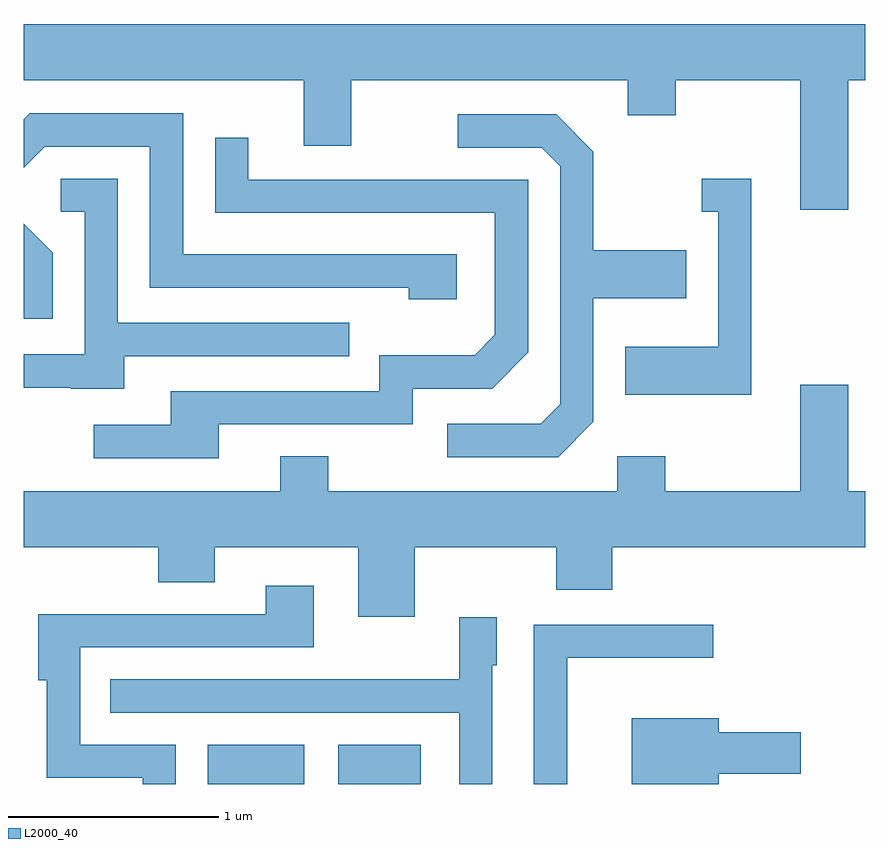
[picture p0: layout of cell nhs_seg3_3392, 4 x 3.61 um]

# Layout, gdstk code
import gdstk
lib = gdstk.Library(unit=1e-6, precision=1e-09)
def R(c, l, rs):  # rectangles x0, y0, x1, y1
    for r in rs: c.add(gdstk.rectangle(r[:2], r[2:], *l))
def P(c, l, *ps):  # polygons
    for p in ps: c.add(gdstk.Polygon(p, *l))
L2000_40 = (2000, 40)

nhs_seg3_3392 = lib.new_cell('nhs_seg3_3392')
R(nhs_seg3_3392, L2000_40, [(284.486,1235.892,284.944,1236.079), (285.106,1235.892,285.499,1236.079)])
P(nhs_seg3_3392, L2000_40, [(287.529,1239.236),(287.611,1239.236),(287.611,1239.504),(283.611,1239.504),(283.611,1239.236),(284.941,1239.236),(284.941,1238.926),(285.169,1238.926),(285.169,1239.236),(286.481,1239.236),(286.481,1239.071),(286.709,1239.071),(286.709,1239.236),(287.301,1239.236),(287.301,1238.621),(287.529,1238.621)],
  [(285.669,1238.409),(284.369,1238.409),(284.369,1239.079),(283.639,1239.079),(283.611,1239.051),(283.611,1238.82),(283.712,1238.921),(284.211,1238.921),(284.211,1238.251),(285.441,1238.251),(285.441,1238.196),(285.669,1238.196)],
  [(286.319,1237.614),(286.319,1238.201),(286.759,1238.201),(286.759,1238.429),(286.319,1238.429),(286.319,1238.897),(286.142,1239.074),(285.673,1239.074),(285.673,1238.916),(286.074,1238.916),(286.161,1238.829),(286.161,1237.697),(286.069,1237.604),(285.623,1237.604),(285.623,1237.446),(286.152,1237.446)],
  [(284.539,1237.601),(285.459,1237.601),(285.459,1237.771),(285.837,1237.771),(286.009,1237.944),(286.009,1238.764),(284.679,1238.764),(284.679,1238.963),(284.521,1238.963),(284.521,1238.606),(285.851,1238.606),(285.851,1238.027),(285.754,1237.929),(285.301,1237.929),(285.301,1237.759),(284.311,1237.759),(284.311,1237.599),(283.943,1237.599),(283.943,1237.441),(284.539,1237.441)],
  [(284.089,1237.926),(285.158,1237.926),(285.158,1238.084),(284.059,1238.084),(284.059,1238.769),(283.788,1238.769),(283.788,1238.611),(283.901,1238.611),(283.901,1237.934),(283.611,1237.934),(283.611,1237.776),(283.835,1237.776),(283.835,1237.771),(284.089,1237.771)],
  [(287.069,1238.769),(286.833,1238.769),(286.833,1238.611),(286.911,1238.611),(286.911,1237.969),(286.471,1237.969),(286.471,1237.741),(287.069,1237.741)],
  [(283.749,1238.417),(283.611,1238.555),(283.611,1238.103),(283.749,1238.103)],
  [(285.469,1237.016),(286.141,1237.016),(286.141,1236.816),(286.409,1236.816),(286.409,1237.016),(287.611,1237.016),(287.611,1237.284),(287.529,1237.284),(287.529,1237.789),(287.301,1237.789),(287.301,1237.284),(286.659,1237.284),(286.659,1237.449),(286.431,1237.449),(286.431,1237.284),(285.059,1237.284),(285.059,1237.449),(284.831,1237.449),(284.831,1237.284),(283.611,1237.284),(283.611,1237.016),(284.251,1237.016),(284.251,1236.851),(284.519,1236.851),(284.519,1237.016),(285.201,1237.016),(285.201,1236.686),(285.469,1236.686)],
  [(284.334,1236.079),(283.879,1236.079),(283.879,1236.541),(284.989,1236.541),(284.989,1236.834),(284.761,1236.834),(284.761,1236.699),(283.681,1236.699),(283.681,1236.386),(283.721,1236.386),(283.721,1235.921),(284.176,1235.921),(284.176,1235.892),(284.334,1235.892)],
  [(285.839,1236.456),(285.859,1236.456),(285.859,1236.684),(285.681,1236.684),(285.681,1236.389),(284.023,1236.389),(284.023,1236.231),(285.681,1236.231),(285.681,1235.892),(285.839,1235.892)],
  [(286.194,1236.491),(286.888,1236.491),(286.888,1236.649),(286.036,1236.649),(286.036,1235.892),(286.194,1235.892)],
  [(286.914,1235.941),(287.304,1235.941),(287.304,1236.139),(286.914,1236.139),(286.914,1236.204),(286.501,1236.204),(286.501,1235.892),(286.914,1235.892)])

lib.write_gds('nhs_seg3_3392.gds')
